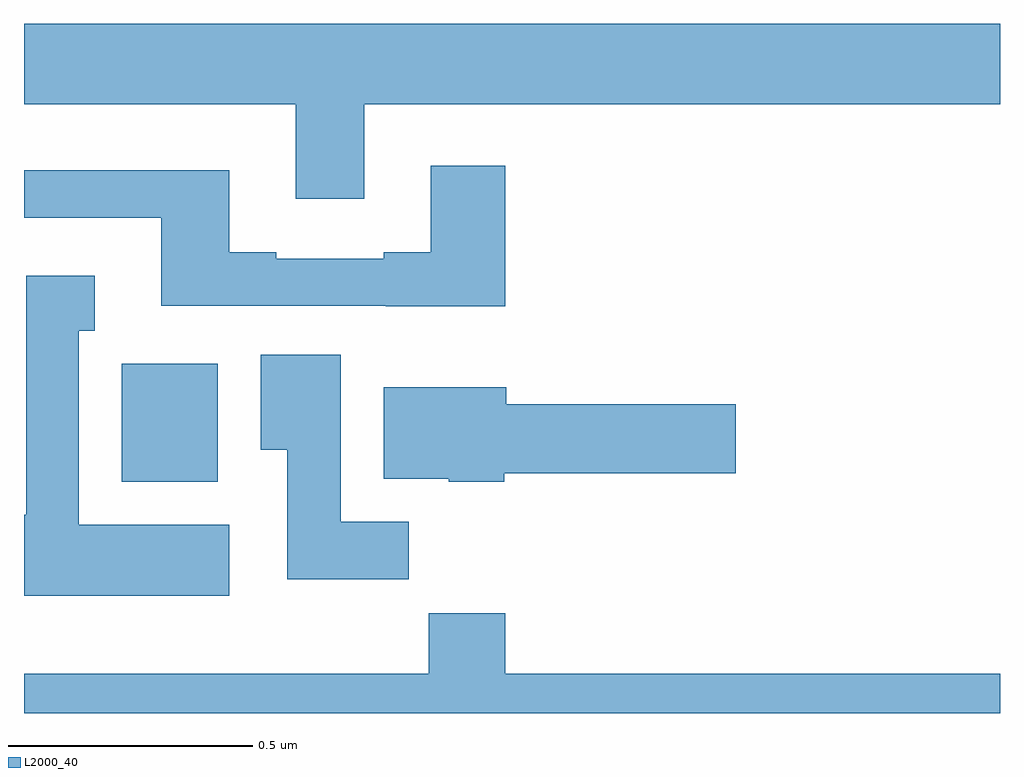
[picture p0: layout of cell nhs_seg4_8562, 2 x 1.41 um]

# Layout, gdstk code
import gdstk
lib = gdstk.Library(unit=1e-6, precision=1e-09)
def R(c, l, rs):  # rectangles x0, y0, x1, y1
    for r in rs: c.add(gdstk.rectangle(r[:2], r[2:], *l))
def P(c, l, *ps):  # polygons
    for p in ps: c.add(gdstk.Polygon(p, *l))
L2000_40 = (2000, 40)

nhs_seg4_8562 = lib.new_cell('nhs_seg4_8562')
R(nhs_seg4_8562, L2000_40, [(216.2,801.374,216.397,801.616)])
P(nhs_seg4_8562, L2000_40, [(216.697,802.148),(218,802.148),(218,802.312),(216,802.312),(216,802.148),(216.557,802.148),(216.557,801.954),(216.697,801.954)],
  [(216.986,802.021),(216.833,802.021),(216.833,801.844),(216.737,801.844),(216.737,801.831),(216.517,801.831),(216.517,801.844),(216.421,801.844),(216.421,802.012),(216,802.012),(216,801.915),(216.281,801.915),(216.281,801.735),(216.741,801.735),(216.741,801.734),(216.986,801.734)],
  [(216.421,801.286),(216.112,801.286),(216.112,801.683),(216.145,801.683),(216.145,801.796),(216.005,801.796),(216.005,801.306),(216,801.306),(216,801.14),(216.421,801.14)],
  [(216.788,801.292),(216.649,801.292),(216.649,801.634),(216.485,801.634),(216.485,801.44),(216.539,801.44),(216.539,801.174),(216.788,801.174)],
  [(216.984,801.391),(217.459,801.391),(217.459,801.533),(216.988,801.533),(216.988,801.568),(216.737,801.568),(216.737,801.38),(216.87,801.38),(216.87,801.374),(216.984,801.374)],
  [(216.829,801.104),(216.829,800.98),(216,800.98),(216,800.9),(218,800.9),(218,800.98),(216.986,800.98),(216.986,801.104)])

lib.write_gds('nhs_seg4_8562.gds')
